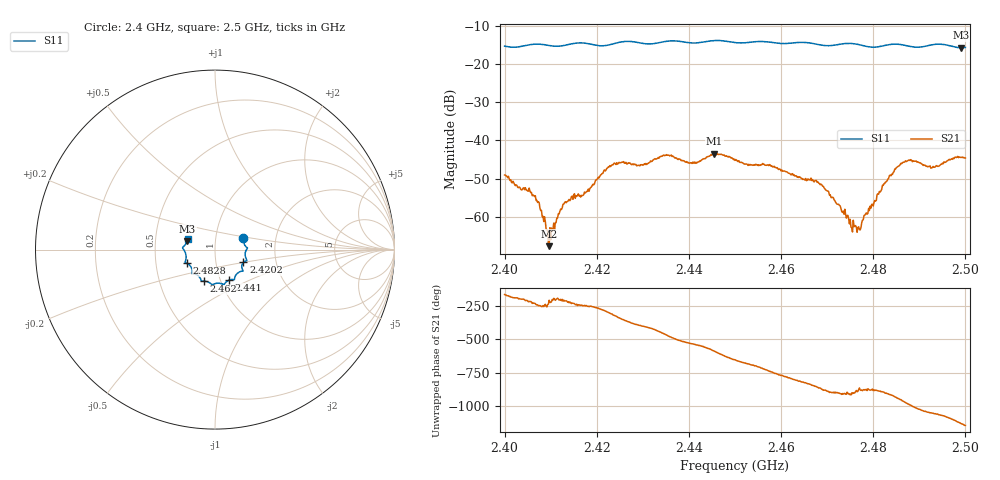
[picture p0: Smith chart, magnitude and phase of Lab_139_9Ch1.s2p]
# Hz S RI R 50
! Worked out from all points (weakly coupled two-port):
!   601 points, 2.4 GHz to 2.5 GHz, reference 50 ohm
!   highest |S21| = -43.45 dB at 2.4455 GHz (marker M1); lowest = -67.6 dB at 2.4097 GHz (marker M2)
!   lowest |S11| = -15.8 dB at 2.499 GHz (marker M3), VSWR 1.39, Z = 36.4 + j3.5 ohm
!   |S11| at or under -10 dB: start of sweep to end of sweep
!   S12 and S22 are empty: the file has one direction only
!   S11 on the Smith chart (normalised r, x): 2.4 GHz: 1.36, +0.18; 2.4202 GHz: 1.36, -0.20; 2.441 GHz: 1.10, -0.39; 2.462 GHz: 0.84, -0.30; 2.4828 GHz: 0.72, -0.11; 2.5 GHz: 0.73, +0.09
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2.4e9  0.1582 0.0625  -0.00345 -0.000795  0 0  0 0
2.406167e9  0.1795 0.0107  -0.00126 0.00148  0 0  0 0
2.4075e9  0.1805 0.0081  -0.000534 0.00145  0 0  0 0
2.409667e9  0.1733 -0.00359  -0.000362 0.000206  0 0  0 0
2.413e9  0.1695 -0.0399  -0.00126 0.000889  0 0  0 0
2.416667e9  0.1775 -0.0606  -0.000785 0.00175  0 0  0 0
2.420167e9  0.1582 -0.0712  -9.78e-05 0.00319  0 0  0 0
2.423833e9  0.151 -0.1057  0.00405 0.00304  0 0  0 0
2.433333e9  0.1114 -0.151  0.000995 -0.00591  0 0  0 0
2.441e9  0.0784 -0.1697  -0.00504 -0.000371  0 0  0 0
2.4455e9  0.051 -0.1946  -0.0044 0.00507  0 0  0 0
2.45e9  0.0281 -0.1874  0.00214 0.00506  0 0  0 0
2.462e9  -0.0608 -0.1756  0.00115 -0.00346  0 0  0 0
2.466667e9  -0.0787 -0.1682  -0.00163 -0.00251  0 0  0 0
2.469167e9  -0.0887 -0.1498  -0.00237 -0.00085  0 0  0 0
2.476833e9  -0.1269 -0.1256  -0.000683 -0.000303  0 0  0 0
2.482833e9  -0.1576 -0.0767  -0.00289 5.71e-05  0 0  0 0
2.483333e9  -0.1607 -0.0753  -0.00315 0.00049  0 0  0 0
2.487333e9  -0.1626 -0.0567  -0.00115 0.00524  0 0  0 0
2.493e9  -0.1781 0.00483  0.00401 0.00222  0 0  0 0
2.499e9  -0.1552 0.0468  0.00408 -0.00443  0 0  0 0
2.5e9  -0.1519 0.0608  0.00276 -0.00521  0 0  0 0
